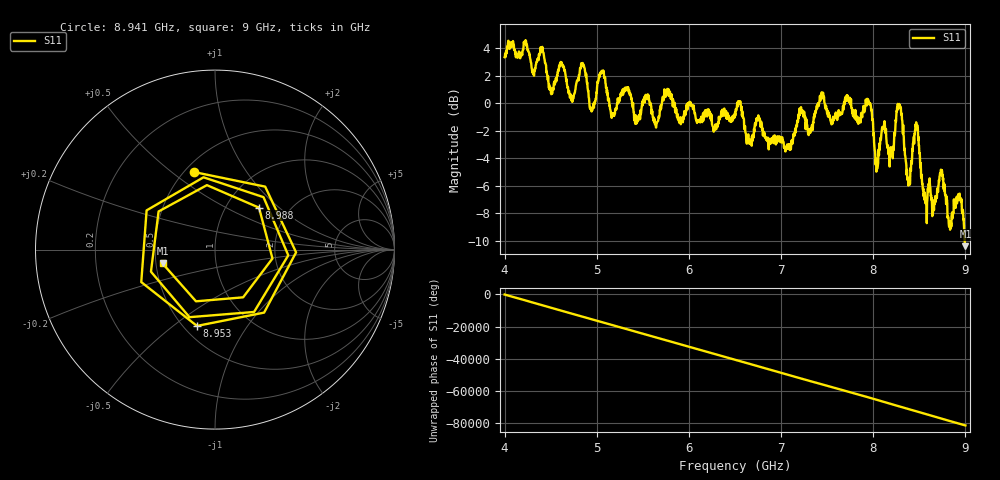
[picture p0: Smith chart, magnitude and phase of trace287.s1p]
! Created with skrf 1.8.0 (http://scikit-rf.org).
# Hz S RI R 50.0
!freq ReS11 ImS11
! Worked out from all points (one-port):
!   1601 points, 4 GHz to 9 GHz, reference 50 ohm
!   lowest |S11| = -10.4 dB at 9 GHz (marker M1), VSWR 1.87, Z = 27.1 - j4.61 ohm
!   |S11| at or under -10 dB: 8.9925 GHz to end of sweep
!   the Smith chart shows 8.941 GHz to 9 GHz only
!   S11 on the Smith chart (normalised r, x): 8.941 GHz: 0.56, +0.60; 8.953 GHz: 0.58, -0.61; 8.988 GHz: 1.42, +0.75; 9 GHz: 0.54, -0.09
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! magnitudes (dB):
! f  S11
! 4 GHz  3.3
! 4.406 GHz  3.8
! 4.506 GHz  0.6
! 4.625 GHz  2.8
! 4.728 GHz  0.3
! 4.844 GHz  2.9
! 4.944 GHz  -0.6
! 5.05 GHz  2.2
! 5.169 GHz  -0.9
! 5.25 GHz  0.4
! 5.875 GHz  -1.0
! 6.5 GHz  -0.7
! 7.125 GHz  -2.7
! 7.441 GHz  0.8
! 7.75 GHz  0.1
! 7.959 GHz  0.0
! 8.038 GHz  -4.9
! 8.112 GHz  -1.8
! 8.197 GHz  -3.6
! 8.284 GHz  -0.1
! 8.375 GHz  -5.5
! 8.466 GHz  -1.4
! 8.562 GHz  -6.8
! 8.734 GHz  -4.8
! 8.941 GHz  -7.0
! 8.953 GHz  -7.2
! 8.988 GHz  -9.4
! 9 GHz  -10.4
